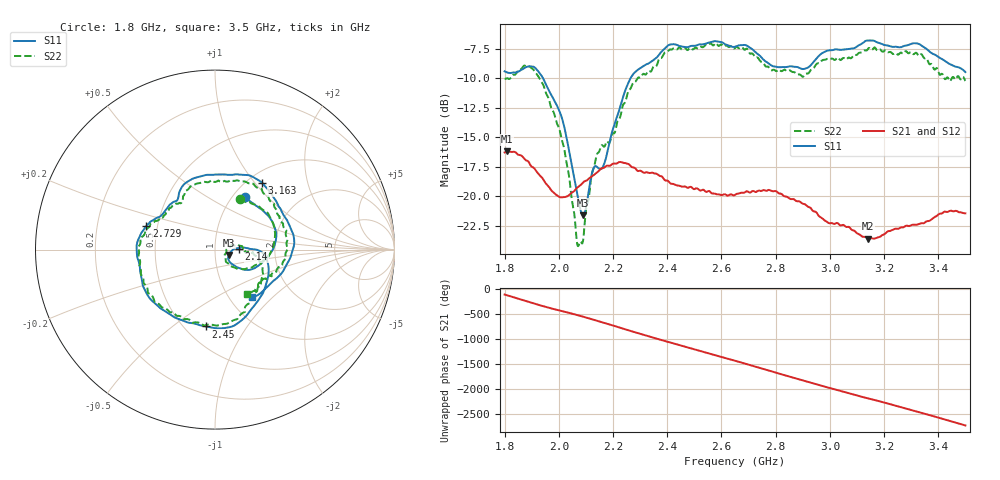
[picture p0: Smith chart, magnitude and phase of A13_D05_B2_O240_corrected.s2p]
! Created with skrf 1.9.0 (http://scikit-rf.org).
# Hz S RI R 50.0
!freq ReS11 ImS11 ReS21 ImS21 ReS12 ImS12 ReS22 ImS22
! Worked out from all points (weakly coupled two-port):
!   1601 points, 1.8 GHz to 3.5 GHz, reference 50 ohm
!   highest |S21| = -16.20 dB at 1.81 GHz (marker M1); lowest = -23.6 dB at 3.142 GHz (marker M2)
!   lowest |S11| = -21.6 dB at 2.09 GHz (marker M3), VSWR 1.18, Z = 58.3 - j3.52 ohm
!   |S11| at or under -10 dB: 1.942 GHz to 2.265 GHz (323 MHz wide, 15.4 % of centre)
!   |S22| runs from -24.2 to -7.0 dB; largest |S21 - S12| = 0.0029
!   S11 on the Smith chart (normalised r, x): 1.8 GHz: 1.13, +0.75; 2.14 GHz: 1.31, +0.01; 2.45 GHz: 0.63, -0.66; 2.729 GHz: 0.43, +0.13; 3.163 GHz: 1.16, +1.09; 3.5 GHz: 1.27, -0.76
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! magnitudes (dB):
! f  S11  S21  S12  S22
! 1.8 GHz  -9.4  -16.3  -16.3  -10.1
! 1.81 GHz  -9.5  -16.2  -16.2  -10.0
! 1.881 GHz  -9.1  -17.0  -17.0  -9.0
! 1.941 GHz  -10.0  -18.5  -18.5  -10.5
! 2.013 GHz  -13.5  -20.1  -20.1  -15.3
! 2.068 GHz  -19.8  -19.3  -19.3  -24.0
! 2.084 GHz  -21.4  -19.0  -18.9  -23.9
! 2.09 GHz  -21.6  -18.8  -18.9  -23.7
! 2.14 GHz  -17.5  -18.0  -18.0  -16.5
! 2.167 GHz  -17.3  -17.6  -17.6  -15.8
! 2.265 GHz  -10.0  -17.4  -17.4  -10.8
! 2.367 GHz  -8.1  -18.2  -18.1  -8.5
! 2.45 GHz  -7.3  -19.2  -19.2  -7.5
! 2.65 GHz  -7.3  -19.9  -19.9  -7.5
! 2.729 GHz  -7.9  -19.6  -19.7  -8.3
! 2.798 GHz  -9.0  -19.6  -19.5  -9.3
! 2.934 GHz  -8.8  -21.1  -21.1  -9.2
! 3.142 GHz  -6.8  -23.6  -23.5  -7.5
! 3.163 GHz  -6.8  -23.6  -23.6  -7.4
! 3.217 GHz  -7.3  -22.9  -22.9  -7.8
! 3.326 GHz  -7.1  -22.4  -22.3  -8.1
! 3.5 GHz  -9.5  -21.4  -21.4  -10.2
